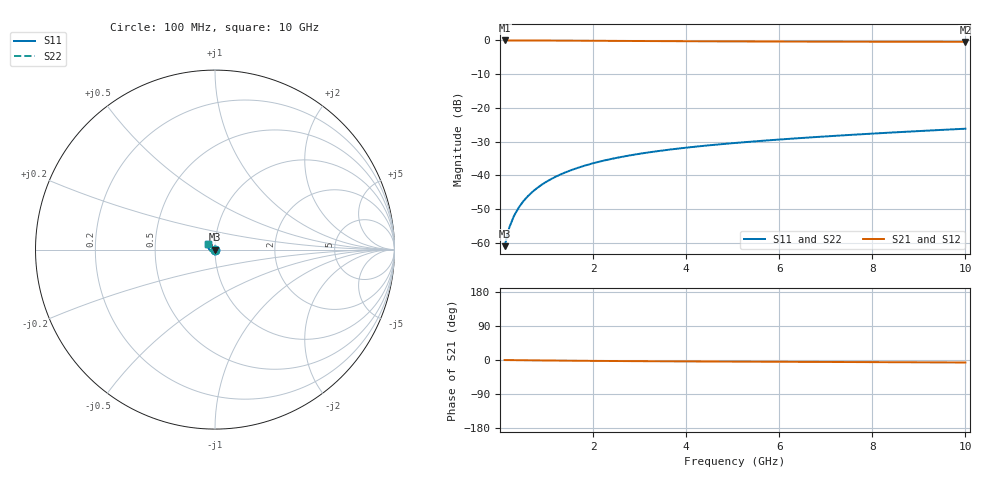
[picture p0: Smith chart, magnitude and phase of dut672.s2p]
! Touchstone file exported from HFSS 2024.1.0
!  File:  C:/UserFiles/LocalFiles/RDL_TSV_Batchsim/temp_TSV1_672_1779794220.aedt
!  Generated:  07:22:56 PM May 26, 2026
!  Design:  TSV1
!  Project:  temp_TSV1_672_1779794220
!  Setup:  Setup1
!  Solution:  Sweep
! Variables:
!  dtsv = 6.7um
!  hbump = 3um
!  htsv = 98.65um
!  lrdl = 252.1521522um
!  p = 40
!  p1 = 56.18um
!  t = 500um
!  trdl = 3um
!  wrdl = 24.89489489um
# GHz S MA R 50.000000
! Terminal data exported
! Port[1] = TSV22_T1
! Port[2] = TSV22_T2
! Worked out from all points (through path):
!   100 points, 100 MHz to 10 GHz, reference 50 ohm
!   highest |S21| = 0.00 dB at 100 MHz (marker M1); lowest = -0.4 dB at 10 GHz (marker M2)
!   lowest |S11| = -61.0 dB at 100 MHz (marker M3), VSWR 1.00, Z = 50 - j0.083 ohm
!   |S11| at or under -10 dB: start of sweep to end of sweep
!   |S22| runs from -61.0 to -26.2 dB; largest |S21 - S12| = 2.2e-15
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0.1  0.0008934 -68.2  0.9996 -0.1  0.9996 -0.1  0.0008934 -68.2
! Gamma 0 0 0 0
! Port Impedance 50 0 50 0
0.2  0.001686 -82.1  0.9995 -0.3  0.9995 -0.3  0.001686 -82.1
0.3  0.002497 -88.5  0.9993 -0.4  0.9993 -0.4  0.002497 -88.5
0.4  0.00331 -92.9  0.9991 -0.5  0.9991 -0.5  0.00331 -92.9
0.5  0.00412 -96.4  0.9988 -0.6  0.9988 -0.6  0.00412 -96.4
0.6  0.004924 -99.5  0.9984 -0.8  0.9984 -0.8  0.004924 -99.5
0.7  0.005723 -102.4  0.998 -0.9  0.998 -0.9  0.005723 -102.4
0.8  0.006513 -105.1  0.9975 -1.0  0.9975 -1.0  0.006513 -105.1
0.9  0.007294 -107.6  0.997 -1.1  0.997 -1.1  0.007294 -107.7
1.1  0.008825 -112.5  0.9958 -1.4  0.9958 -1.4  0.008825 -112.5
1.4  0.01104 -119.4  0.9937 -1.7  0.9937 -1.7  0.01104 -119.4
1.6  0.01245 -123.8  0.9922 -1.9  0.9922 -1.9  0.01245 -123.8
1.8  0.01381 -128.0  0.9906 -2.1  0.9906 -2.1  0.01381 -128.0
2.1  0.01574 -134.0  0.9881 -2.4  0.9881 -2.4  0.01574 -134.0
2.5  0.01815 -141.5  0.9848 -2.7  0.9848 -2.7  0.01815 -141.5
2.9  0.02038 -148.4  0.9815 -3.0  0.9815 -3.0  0.02038 -148.4
3.4  0.02293 -156.4  0.9777 -3.3  0.9777 -3.3  0.02293 -156.4
4.2  0.02664 -167.7  0.9724 -3.8  0.9724 -3.8  0.02664 -167.7
5.1  0.03042 -178.5  0.9675 -4.3  0.9675 -4.3  0.03042 -178.5
6.7  0.03668 166.0  0.9611 -5.0  0.9611 -5.0  0.03668 166.0
8.4  0.04311 153.4  0.9566 -5.8  0.9566 -5.8  0.04311 153.4
10  0.04916 144.1  0.9536 -6.6  0.9536 -6.6  0.04916 144.1
